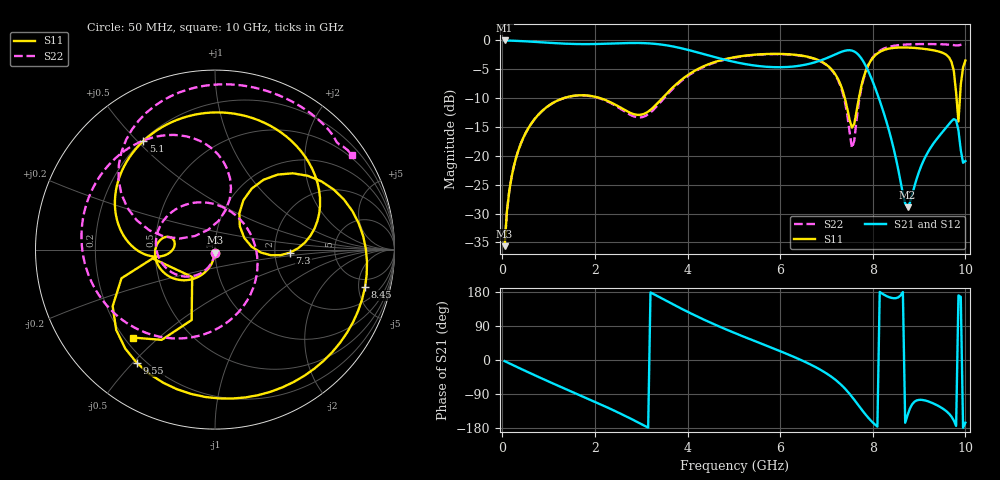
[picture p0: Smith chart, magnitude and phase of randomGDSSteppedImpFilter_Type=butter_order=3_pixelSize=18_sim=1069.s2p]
! freq	dB(S11)	phase(S11)	dB(S12)	phase(S12)
!  dB(S21)	phase(S21)	dB(S22)	phase(S22)
!S-par simulation data
#  GHz  S  DB  R 50
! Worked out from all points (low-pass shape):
!   200 points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, 50 MHz to 10 GHz, reference 50 ohm
!   highest |S21| = 0.00 dB at 50 MHz (marker M1); lowest = -28.9 dB at 8.75 GHz (marker M2)
!   |S21| within 3 dB of the highest: start of sweep to 4.641 GHz; 7.023 GHz to 7.743 GHz (720.4 MHz wide, 9.76 % of centre)
!   lowest |S11| = -35.7 dB at 50 MHz (marker M3), VSWR 1.03, Z = 49.9 - j1.65 ohm
!   |S11| at or under -10 dB: start of sweep to 1.323 GHz; 2.114 GHz to 3.456 GHz (1.342 GHz wide, 48.2 % of centre); 7.397 GHz to 7.699 GHz (302.4 MHz wide, 4.01 % of centre) (the widest 3 of 4)
!   |S22| runs from -35.7 to -0.6 dB; largest |S21 - S12| = 0
!   S11 on the Smith chart (normalised r, x): 50 MHz: 1.00, -0.03; 5.1 GHz: 0.20, +0.52; 7.3 GHz: 2.43, -0.10; 8.45 GHz: 3.66, -5.92; 9.55 GHz: 0.17, -0.51; 10 GHz: 0.23, -0.41
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0.05  -35.65 -92.6  -0.00 -3.0  -0.00 -3.0  -35.66 -93.0
0.2  -23.68 -101.1  -0.04 -11.7  -0.04 -11.7  -23.69 -102.7
0.5  -16.12 -117.4  -0.15 -29.0  -0.15 -29.0  -16.13 -121.6
1.75  -9.50 -175.5  -0.64 -96.9  -0.64 -96.9  -9.53 160.9
2.6  -11.86 164.6  -0.47 -144.3  -0.47 -144.3  -12.09 86.7
3.4  -10.48 -173.0  -0.68 165.3  -0.68 165.3  -10.84 -38.8
4.15  -5.28 167.2  -1.93 118.3  -1.93 118.3  -5.42 -112.4
5.05  -2.86 125.7  -3.79 69.7  -3.79 69.7  -2.92 -166.9
5.1  -2.79 123.4  -3.88 67.2  -3.88 67.2  -2.85 -169.4
5.95  -2.33 81.8  -4.64 25.8  -4.64 25.8  -2.37 150.8
6.7  -3.05 39.6  -3.91 -14.6  -3.91 -14.6  -3.08 115.1
7.3  -7.58 -2.3  -2.04 -63.4  -2.04 -63.4  -7.83 78.1
7.55  -15.11 21.9  -1.76 -97.0  -1.76 -97.0  -18.66 109.4
7.9  -4.33 44.4  -5.26 -152.0  -5.26 -152.0  -4.32 149.2
8.35  -1.42 -4.6  -15.60 166.0  -15.60 166.0  -1.11 109.4
8.45  -1.29 -14.0  -18.71 163.0  -18.71 163.0  -0.94 102.9
8.75  -1.23 -41.1  -28.89 -146.2  -28.89 -146.2  -0.69 86.1
9.2  -1.56 -83.4  -19.23 -109.3  -19.23 -109.3  -0.63 65.2
9.55  -2.30 -124.5  -15.44 -131.5  -15.44 -131.5  -0.68 50.6
9.75  -5.28 -163.0  -13.63 -159.7  -13.63 -159.7  -0.82 42.9
9.85  -14.05 -129.8  -15.58 170.4  -15.58 170.4  -0.85 40.3
10  -3.47 -133.0  -20.89 -165.4  -20.89 -165.4  -0.65 34.7
